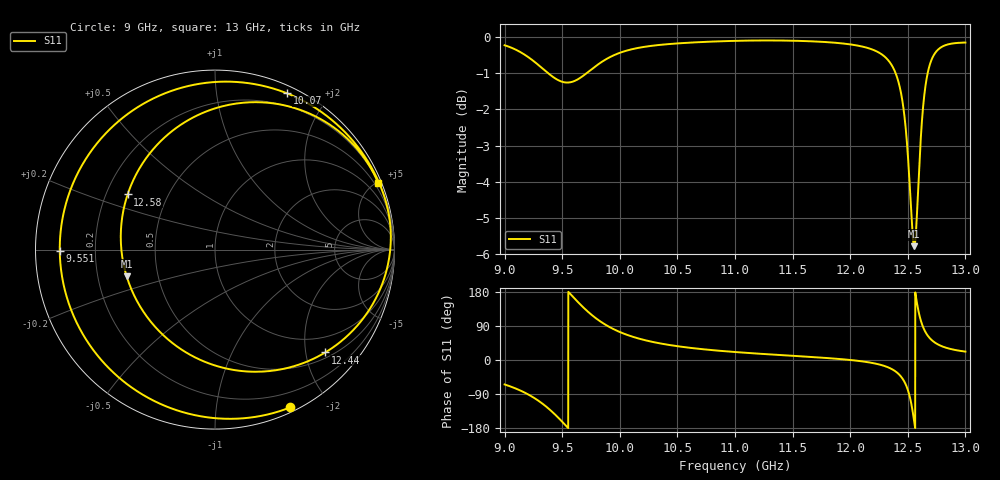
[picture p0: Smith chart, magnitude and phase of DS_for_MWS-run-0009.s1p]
! TOUCHSTONE file generated by CST DESIGN STUDIO
! Date and time: Tue Feb  4 18:45:17 2025
! Project name: C:\Work\MatlabApps\UnitCellOptimizationMatlab\CST\unitcell.cst
! Tree item: Tasks\Sweep1\SPara1\S-Parameters
! Header version: 2024
! Port assignment regex: !\s*Touchstone port\s*([0-9]+)\s*=\s*(CST MWS port|CST DES external port|CST DES block port)\s*(.+)\s* \(\"(.*)\"\)(\s*mode\s*([0-9]+))?.*
! Touchstone port assignment:
! Touchstone port 1 = CST DES external port 1 ("")
# GHz S MA R 50
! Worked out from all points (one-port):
!   4001 points, 9 GHz to 13 GHz, reference 50 ohm
!   lowest |S11| = -5.8 dB at 12.56 GHz (marker M1), VSWR 3.12, Z = 16.4 - j6.66 ohm
!   |S11| at or under -10 dB: nowhere
!   S11 on the Smith chart (normalised r, x): 9 GHz: 0.05, -1.58; 9.551 GHz: 0.07, -0.01; 10.07 GHz: 0.07, +1.56; 12.44 GHz: 0.62, -2.40; 12.58 GHz: 0.29, +0.27; 13 GHz: 0.24, +5.10
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9  0.9737 -64.5
9.171  0.9457 -85.5
9.292  0.915 -107.2
9.396  0.8864 -132.1
9.5  0.867 -162.9
9.551  0.8649 -179.4
9.642  0.8751 151.2
9.761  0.9037 117.7
9.865  0.9283 95.1
10  0.9506 73.9
10.073  0.9587 65.3
10.259  0.9712 49.4
10.5  0.9795 36.4
11  0.9875 21.1
11.5  0.9879 11.1
12  0.9764 0.1
12.308  0.9364 -16.9
12.439  0.84 -43.0
12.5  0.6887 -78.6
12.528  0.579 -111.7
12.556  0.5142 -163.1
12.581  0.5757 147.8
12.607  0.6991 110.7
12.634  0.8043 86.0
12.676  0.8964 63.1
12.725  0.9433 48.2
12.827  0.974 32.9
13  0.9822 22.2
